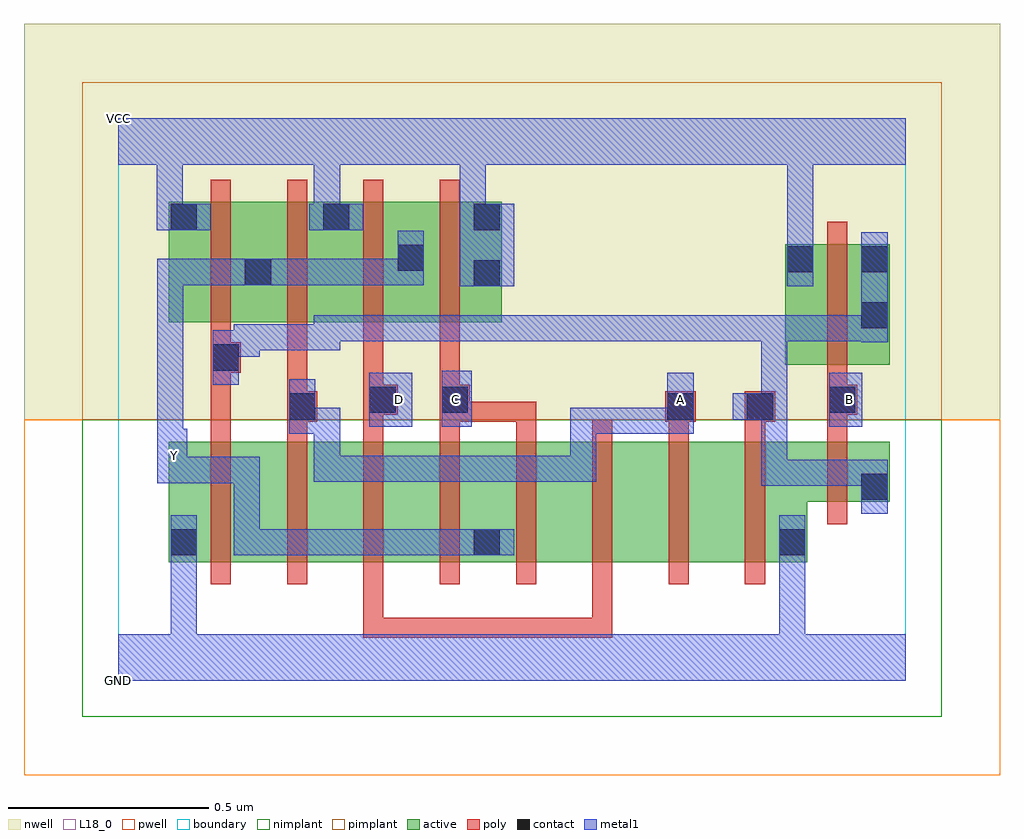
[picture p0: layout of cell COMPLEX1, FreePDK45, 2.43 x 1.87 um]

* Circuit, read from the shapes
.subckt COMPLEX1 A B C D GND VCC Y
M1 n1 n2 GND VSUBS nfet w=0.3u l=0.05u
M2 n3 A n1 VSUBS nfet w=0.3u l=0.05u
M3 n4 D n3 VSUBS nfet w=0.3u l=0.05u
M4 Y C n4 VSUBS nfet w=0.3u l=0.05u
M5 n5 C Y VSUBS nfet w=0.3u l=0.05u
M6 n6 D n5 VSUBS nfet w=0.3u l=0.05u
M7 n7 A n6 VSUBS nfet w=0.3u l=0.05u
M8 GND n2 n7 VSUBS nfet w=0.3u l=0.05u
M9 n2 B GND VSUBS nfet w=0.15u l=0.05u
M10 Y n2 VCC n8 pfet w=0.3u l=0.05u
M11 VCC A Y n8 pfet w=0.3u l=0.05u
M12 Y D VCC n8 pfet w=0.3u l=0.05u
M13 VCC C Y n8 pfet w=0.3u l=0.05u
M14 n2 B VCC n8 pfet w=0.3u l=0.05u
.ends

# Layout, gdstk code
import gdstk
lib = gdstk.Library(unit=1e-6, precision=1e-09)
def R(c, l, rs):  # rectangles x0, y0, x1, y1
    for r in rs: c.add(gdstk.rectangle(r[:2], r[2:], *l))
def A(c, l, x, y, w, h, nx, ny, dx, dy):  # array of equal rectangles
    R(c, l, [(x+i*dx, y+j*dy, x+i*dx+w, y+j*dy+h) for i in range(nx) for j in range(ny)])
active = (1, 0)
pwell = (2, 0)
nwell = (3, 0)
nimplant = (4, 0)
pimplant = (5, 0)
poly = (9, 0)
contact = (10, 0)
metal1 = (11, 0)
L18_0 = (18, 0)
boundary = (235, 0)

complex1 = lib.new_cell('COMPLEX1')
R(complex1, active, [(0.125,0.295,0.2,0.595), (0.125,0.295,0.35,0.595), (0.35,0.295,0.54,0.595), (0.54,0.295,0.73,0.595), (0.73,0.295,0.955,0.595), (0.88,0.295,1.11,0.595), (0.88,0.295,0.955,0.517), (1.11,0.295,1.3,0.595), (1.3,0.295,1.49,0.595), (1.49,0.295,1.715,0.595), (1.64,0.295,1.715,0.595), (1.64,0.445,1.92,0.595), (1.845,0.445,1.92,0.595), (1.66,0.787,1.735,1.087), (1.66,0.787,1.92,1.087), (1.845,0.787,1.92,1.087), (0.125,0.892,0.2,1.192), (0.125,0.892,0.385,1.192), (0.31,0.892,0.58,1.192), (0.31,0.892,0.385,1.055), (0.505,0.892,0.765,1.192), (0.69,0.892,0.955,1.192), (0.69,0.892,0.765,1.09), (0.88,0.892,0.955,1.192), (0.505,0.912,0.58,1.192)])
R(complex1, pwell, [(-0.235,-0.235,2.195,0.65)])
R(complex1, nwell, [(-0.235,0.65,2.195,1.635)])
R(complex1, nimplant, [(-0.09,-0.09,2.05,0.65)])
R(complex1, pimplant, [(-0.09,0.65,2.05,1.49)])
A(complex1, poly, 0.23, 0.24, 0.05, 0.41, 8, 1, 0.19, 0)
A(complex1, poly, 0.23, 0.837, 0.05, 0.41, 4, 1, 0.19, 0)
R(complex1, poly, [(0.61,0.107,0.66,0.157), (0.61,0.107,0.66,0.157), (0.61,0.107,0.66,0.157), (0.61,0.107,0.66,0.29), (0.61,0.107,0.907,0.157), (0.857,0.107,0.907,0.157), (0.857,0.107,0.907,0.157), (0.857,0.107,0.907,0.157), (0.857,0.107,1.04,0.157), (0.99,0.107,1.04,0.157), (0.99,0.107,1.23,0.157), (1.18,0.107,1.23,0.157), (1.18,0.107,1.23,0.157), (1.18,0.107,1.23,0.157), (1.18,0.107,1.23,0.29), (1.765,0.39,1.815,0.65), (0.23,0.6,0.28,0.817), (0.42,0.6,0.47,0.695), (0.61,0.6,0.66,0.712), (0.8,0.6,0.85,0.695), (0.99,0.6,1.04,0.695), (1.37,0.6,1.42,0.695), (1.56,0.6,1.61,0.695), (1.765,0.6,1.815,0.712), (0.42,0.645,0.495,0.72), (0.8,0.645,0.85,0.695), (0.8,0.645,1.04,0.695), (0.8,0.645,0.85,0.712), (0.99,0.645,1.04,0.695), (0.99,0.645,1.04,0.695), (0.99,0.645,1.04,0.695), (1.362,0.645,1.437,0.72), (1.56,0.645,1.635,0.72), (0.61,0.662,0.66,0.712), (0.61,0.662,0.66,0.712), (0.61,0.662,0.695,0.737), (0.8,0.662,0.875,0.737), (1.765,0.662,1.84,0.737), (0.42,0.67,0.47,0.72), (0.42,0.67,0.47,0.72), (0.42,0.67,0.47,0.887), (0.61,0.687,0.66,0.887), (0.8,0.687,0.85,0.887), (1.765,0.687,1.815,0.782), (1.765,0.687,1.815,0.737), (1.765,0.687,1.815,0.737), (1.765,0.732,1.815,1.142), (0.23,0.767,0.28,0.817), (0.23,0.767,0.28,0.817), (0.23,0.767,0.305,0.842), (0.23,0.792,0.28,0.887)])
R(complex1, contact, [(0.13,0.312,0.195,0.377), (0.885,0.312,0.95,0.377), (1.645,0.312,1.71,0.377), (1.85,0.45,1.915,0.515), (0.425,0.65,0.49,0.715), (1.367,0.65,1.432,0.715), (1.565,0.65,1.63,0.715), (0.625,0.667,0.69,0.732), (0.805,0.667,0.87,0.732), (1.77,0.667,1.835,0.732), (0.235,0.772,0.3,0.837), (1.85,0.877,1.915,0.942), (0.885,0.982,0.95,1.047), (0.315,0.985,0.38,1.05), (1.665,1.017,1.73,1.082), (1.85,1.017,1.915,1.082), (0.695,1.02,0.76,1.085), (0.13,1.122,0.195,1.187), (0.51,1.122,0.575,1.187), (0.885,1.122,0.95,1.187)])
R(complex1, metal1, [(0,0,1.96,0.115), (0.13,0.05,0.195,0.115), (0.13,0.05,0.195,0.115), (0.13,0.05,0.195,0.342), (1.645,0.05,1.71,0.115), (1.645,0.05,1.71,0.115), (1.645,0.05,1.71,0.342), (0.13,0.277,0.195,0.412), (1.645,0.277,1.71,0.412), (0.287,0.312,0.352,0.377), (0.287,0.312,0.54,0.377), (0.287,0.312,0.352,0.557), (0.475,0.312,0.54,0.377), (0.475,0.312,0.54,0.377), (0.475,0.312,0.54,0.377), (0.475,0.312,0.69,0.377), (0.625,0.312,0.69,0.377), (0.625,0.312,0.69,0.377), (0.625,0.312,0.69,0.377), (0.625,0.312,0.915,0.377), (0.85,0.312,0.915,0.377), (0.85,0.312,0.915,0.377), (0.85,0.312,0.985,0.377), (1.85,0.415,1.915,0.55), (1.6,0.485,1.665,0.55), (1.6,0.485,1.915,0.55), (1.6,0.485,1.665,0.715), (1.85,0.485,1.915,0.55), (1.85,0.485,1.915,0.55), (0.097,0.492,0.172,0.627), (0.107,0.492,0.172,0.557), (0.107,0.492,0.172,0.557), (0.107,0.492,0.352,0.557), (0.287,0.492,0.352,0.557), (0.487,0.495,0.552,0.68), (0.487,0.495,0.732,0.56), (0.667,0.495,0.732,0.56), (0.667,0.495,0.732,0.56), (0.667,0.495,0.732,0.56), (0.667,0.495,0.87,0.56), (0.805,0.495,0.87,0.56), (0.805,0.495,0.87,0.56), (0.805,0.495,0.87,0.56), (0.805,0.495,1.052,0.56), (0.987,0.495,1.052,0.56), (0.987,0.495,1.052,0.56), (0.987,0.495,1.052,0.56), (0.987,0.495,1.19,0.56), (1.125,0.495,1.19,0.56), (1.125,0.495,1.19,0.56), (1.125,0.495,1.19,0.68), (0.097,0.562,0.162,0.627), (0.097,0.562,0.162,0.627), (0.097,0.562,0.162,1.05), (0.425,0.615,0.49,0.75), (0.425,0.615,0.552,0.68), (1.125,0.615,1.432,0.68), (1.367,0.615,1.432,0.767), (0.625,0.632,0.732,0.767), (0.805,0.632,0.88,0.772), (1.77,0.632,1.852,0.767), (1.53,0.65,1.665,0.715), (1.6,0.65,1.665,0.715), (1.6,0.65,1.665,0.715), (1.6,0.65,1.665,0.91), (0.235,0.737,0.3,0.872), (0.235,0.807,0.352,0.872), (0.287,0.807,0.352,0.887), (0.287,0.822,0.552,0.887), (0.487,0.822,0.552,0.887), (0.487,0.822,0.552,0.887), (0.487,0.822,0.552,0.887), (0.487,0.822,0.552,0.91), (1.85,0.842,1.915,1.117), (0.487,0.845,0.552,0.91), (0.487,0.845,0.69,0.91), (0.625,0.845,0.69,0.91), (0.625,0.845,0.69,0.91), (0.625,0.845,0.69,0.91), (0.625,0.845,0.87,0.91), (0.805,0.845,0.87,0.91), (0.805,0.845,0.87,0.91), (0.805,0.845,0.87,0.91), (0.805,0.845,1.052,0.91), (0.987,0.845,1.052,0.91), (0.987,0.845,1.052,0.91), (0.987,0.845,1.052,0.91), (0.987,0.845,1.19,0.91), (1.125,0.845,1.19,0.91), (1.125,0.845,1.19,0.91), (1.125,0.845,1.19,0.91), (1.125,0.845,1.327,0.91), (1.262,0.845,1.327,0.91), (1.262,0.845,1.327,0.91), (1.262,0.845,1.327,0.91), (1.262,0.845,1.665,0.91), (1.6,0.845,1.665,0.91), (1.6,0.845,1.665,0.91), (1.6,0.845,1.665,0.91), (1.6,0.845,1.665,0.91), (1.6,0.845,1.665,0.91), (1.6,0.845,1.915,0.91), (1.85,0.845,1.915,0.91), (1.85,0.845,1.915,0.91), (0.85,0.982,0.985,1.187), (1.665,0.982,1.73,1.117), (0.097,0.985,0.162,1.05), (0.097,0.985,0.162,1.05), (0.097,0.985,0.162,1.05), (0.097,0.985,0.345,1.05), (0.28,0.985,0.415,1.05), (0.337,0.985,0.402,1.05), (0.337,0.985,0.402,1.05), (0.337,0.985,0.437,1.05), (0.372,0.985,0.437,1.05), (0.372,0.985,0.552,1.05), (0.487,0.985,0.552,1.05), (0.487,0.985,0.69,1.05), (0.625,0.985,0.69,1.05), (0.625,0.985,0.76,1.05), (0.695,0.985,0.76,1.12), (1.665,1.052,1.73,1.117), (1.665,1.052,1.73,1.117), (1.665,1.052,1.73,1.35), (0.095,1.122,0.23,1.187), (0.095,1.122,0.16,1.35), (0.475,1.122,0.61,1.187), (0.487,1.122,0.552,1.35), (0.85,1.122,0.915,1.187), (0.85,1.122,0.915,1.187), (0.85,1.122,0.915,1.35), (0,1.285,1.96,1.4), (0.095,1.285,0.16,1.35), (0.095,1.285,0.16,1.35), (0.487,1.285,0.552,1.35), (0.487,1.285,0.552,1.35)])
R(complex1, L18_0, [(0,0,1.96,0.115), (0.13,0.05,0.195,0.115), (0.13,0.05,0.195,0.115), (0.13,0.05,0.195,0.342), (1.645,0.05,1.71,0.115), (1.645,0.05,1.71,0.115), (1.645,0.05,1.71,0.342), (0.13,0.277,0.195,0.412), (1.645,0.277,1.71,0.412), (0.287,0.312,0.352,0.377), (0.287,0.312,0.352,0.557), (0.287,0.312,0.54,0.377), (0.475,0.312,0.54,0.377), (0.475,0.312,0.54,0.377), (0.475,0.312,0.54,0.377), (0.475,0.312,0.69,0.377), (0.625,0.312,0.69,0.377), (0.625,0.312,0.69,0.377), (0.625,0.312,0.69,0.377), (0.625,0.312,0.915,0.377), (0.85,0.312,0.915,0.377), (0.85,0.312,0.915,0.377), (0.85,0.312,0.985,0.377), (0.097,0.492,0.172,0.627), (0.107,0.492,0.172,0.557), (0.107,0.492,0.172,0.557), (0.107,0.492,0.352,0.557), (0.287,0.492,0.352,0.557), (0.487,0.495,0.732,0.56), (0.487,0.495,0.552,0.68), (0.667,0.495,0.732,0.56), (0.667,0.495,0.732,0.56), (0.667,0.495,0.732,0.56), (0.667,0.495,0.87,0.56), (0.805,0.495,0.87,0.56), (0.805,0.495,0.87,0.56), (0.805,0.495,0.87,0.56), (0.805,0.495,1.052,0.56), (0.987,0.495,1.052,0.56), (0.987,0.495,1.052,0.56), (0.987,0.495,1.052,0.56), (0.987,0.495,1.19,0.56), (1.125,0.495,1.19,0.56), (1.125,0.495,1.19,0.56), (1.125,0.495,1.19,0.68), (0.107,0.527,0.172,0.592), (0.097,0.562,0.162,0.627), (0.097,0.562,0.162,0.627), (0.097,0.562,0.162,1.05), (0.425,0.615,0.49,0.75), (0.425,0.615,0.552,0.68), (1.125,0.615,1.432,0.68), (1.367,0.615,1.432,0.767), (0.625,0.632,0.732,0.767), (0.805,0.632,0.88,0.772), (1.77,0.632,1.852,0.767), (0.667,0.667,0.732,0.732), (0.807,0.667,0.872,0.732), (1.367,0.667,1.432,0.732), (1.787,0.667,1.852,0.732), (0.85,0.982,0.985,1.187), (1.665,0.982,1.73,1.117), (0.097,0.985,0.162,1.05), (0.097,0.985,0.162,1.05), (0.097,0.985,0.162,1.05), (0.097,0.985,0.345,1.05), (0.28,0.985,0.415,1.05), (0.337,0.985,0.402,1.05), (0.337,0.985,0.402,1.05), (0.337,0.985,0.437,1.05), (0.372,0.985,0.437,1.05), (0.372,0.985,0.552,1.05), (0.487,0.985,0.552,1.05), (0.487,0.985,0.69,1.05), (0.625,0.985,0.69,1.05), (0.625,0.985,0.76,1.05), (0.695,0.985,0.76,1.12), (1.665,1.052,1.73,1.117), (1.665,1.052,1.73,1.117), (1.665,1.052,1.73,1.35), (0.095,1.122,0.23,1.187), (0.095,1.122,0.16,1.35), (0.475,1.122,0.61,1.187), (0.487,1.122,0.552,1.35), (0.85,1.122,0.915,1.187), (0.85,1.122,0.915,1.187), (0.85,1.122,0.915,1.35), (0,1.285,1.96,1.4), (0.095,1.285,0.16,1.35), (0.095,1.285,0.16,1.35), (0.487,1.285,0.552,1.35), (0.487,1.285,0.552,1.35)])
R(complex1, boundary, [(0,0,1.96,1.4)])
complex1.add(gdstk.Label('A', (1.4,0.7), layer=11, texttype=0))
complex1.add(gdstk.Label('B', (1.82,0.7), layer=11, texttype=0))
complex1.add(gdstk.Label('C', (0.84,0.7), layer=11, texttype=0))
complex1.add(gdstk.Label('D', (0.7,0.7), layer=11, texttype=0))
complex1.add(gdstk.Label('Y', (0.14,0.56), layer=11, texttype=0))
complex1.add(gdstk.Label('VCC', (0,1.4), layer=11, texttype=0))
complex1.add(gdstk.Label('GND', (0,0), layer=11, texttype=0))

lib.write_gds('COMPLEX1.gds')
